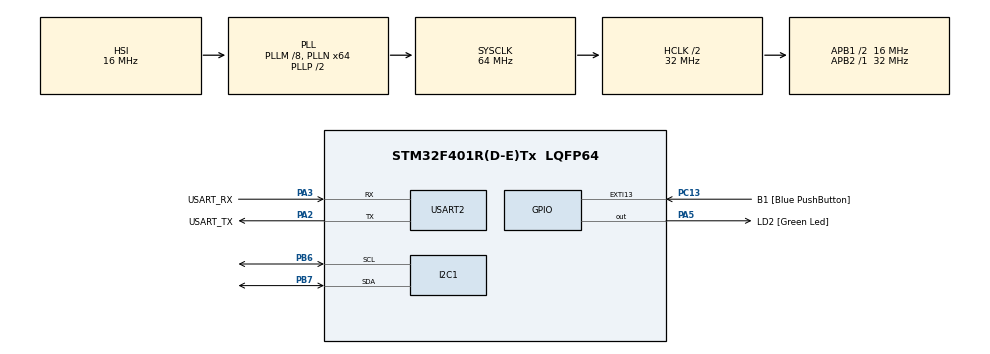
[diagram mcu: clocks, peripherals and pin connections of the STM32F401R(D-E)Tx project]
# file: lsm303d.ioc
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Mcu.Family=STM32F4
Mcu.Name=STM32F401R(D-E)Tx
Mcu.Package=LQFP64
NVIC.PriorityGroup=NVIC_PRIORITYGROUP_0
PA13.GPIO_Label=TMS
PA13.Mode=Serial_Wire
PA13.Signal=SYS_JTMS-SWDIO
PA14.GPIO_Label=TCK
PA14.Mode=Serial_Wire
PA14.Signal=SYS_JTCK-SWCLK
PA2.GPIO_Label=USART_TX
PA2.GPIO_Mode=GPIO_MODE_AF_PP
PA2.GPIO_PuPd=GPIO_NOPULL
PA2.GPIO_Speed=GPIO_SPEED_FREQ_LOW
PA2.Mode=Asynchronous
PA2.Signal=USART2_TX
PA3.GPIO_Label=USART_RX
PA3.GPIO_Mode=GPIO_MODE_AF_PP
PA3.GPIO_PuPd=GPIO_NOPULL
PA3.GPIO_Speed=GPIO_SPEED_FREQ_LOW
PA3.Mode=Asynchronous
PA3.Signal=USART2_RX
PA5.GPIO_Label=LD2 [Green Led]
PA5.GPIO_Mode=GPIO_MODE_OUTPUT_PP
PA5.GPIO_PuPd=GPIO_NOPULL
PA5.GPIO_Speed=GPIO_SPEED_FREQ_LOW
PA5.Signal=GPIO_Output
PB3.GPIO_Label=SWO
PB3.Signal=SYS_JTDO-SWO
PB6.Mode=I2C
PB6.Signal=I2C1_SCL
PB7.Mode=I2C
PB7.Signal=I2C1_SDA
PC13-ANTI_TAMP.GPIO_Label=B1 [Blue PushButton]
PC13-ANTI_TAMP.GPIO_ModeDefaultEXTI=GPIO_MODE_IT_FALLING
PC13-ANTI_TAMP.GPIO_PuPd=GPIO_NOPULL
PC13-ANTI_TAMP.Signal=GPXTI13
PC14-OSC32_IN.Mode=LSE-External-Oscillator
PC14-OSC32_IN.Signal=RCC_OSC32_IN
PC15-OSC32_OUT.Mode=LSE-External-Oscillator
PC15-OSC32_OUT.Signal=RCC_OSC32_OUT
PH0\ -\ OSC_IN.Mode=HSE-External-Clock-Source
PH0\ -\ OSC_IN.Signal=RCC_OSC_IN
PH1\ -\ OSC_OUT.Mode=HSE-External-Clock-Source
PH1\ -\ OSC_OUT.Signal=RCC_OSC_OUT
ProjectManager.HeapSize=0x200
ProjectManager.StackSize=0x400
ProjectManager.TargetToolchain=SW4STM32
RCC.48MHZClocksFreq_Value=18285714.285714287
RCC.AHBCLKDivider=RCC_SYSCLK_DIV2
RCC.AHBFreq_Value=32000000
RCC.APB1CLKDivider=RCC_HCLK_DIV2
RCC.APB1Freq_Value=16000000
RCC.APB1TimFreq_Value=32000000
RCC.APB2Freq_Value=32000000
RCC.APB2TimFreq_Value=32000000
RCC.CortexFreq_Value=32000000
RCC.HCLKFreq_Value=32000000
RCC.HSE_VALUE=8000000
RCC.HSI_VALUE=16000000
RCC.PLLM=8
RCC.PLLN=64
RCC.PLLQ=7
RCC.SYSCLKFreq_VALUE=64000000
RCC.SYSCLKSource=RCC_SYSCLKSOURCE_PLLCLK
RCC.VCOOutputFreq_Value=128000000
USART2.VirtualMode=VM_ASYNC
board=NUCLEO-F401RE

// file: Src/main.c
/**
  ******************************************************************************
  * @file           : main.c
  * @brief          : Main program body
  ******************************************************************************
  ** This notice applies to any and all portions of this file
  * that are not between comment pairs USER CODE BEGIN and
  * USER CODE END. Other portions of this file, whether
  * inserted by the user or by software development tools
  * are owned by their respective copyright owners.
  *
  * COPYRIGHT(c) 2018 STMicroelectronics
  *
  * Redistribution and use in source and binary forms, with or without modification,
  * are permitted provided that the following conditions are met:
  *   1. Redistributions of source code must retain the above copyright notice,
  *      this list of conditions and the following disclaimer.
  *   2. Redistributions in binary form must reproduce the above copyright notice,
  *      this list of conditions and the following disclaimer in the documentation
  *      and/or other materials provided with the distribution.
  *   3. Neither the name of STMicroelectronics nor the names of its contributors
  *      may be used to endorse or promote products derived from this software
  *      without specific prior written permission.
  *
  * THIS SOFTWARE IS PROVIDED BY THE COPYRIGHT HOLDERS AND CONTRIBUTORS "AS IS"
  * AND ANY EXPRESS OR IMPLIED WARRANTIES, INCLUDING, BUT NOT LIMITED TO, THE
  * IMPLIED WARRANTIES OF MERCHANTABILITY AND FITNESS FOR A PARTICULAR PURPOSE ARE
  * DISCLAIMED. IN NO EVENT SHALL THE COPYRIGHT HOLDER OR CONTRIBUTORS BE LIABLE
  * FOR ANY DIRECT, INDIRECT, INCIDENTAL, SPECIAL, EXEMPLARY, OR CONSEQUENTIAL
  * DAMAGES (INCLUDING, BUT NOT LIMITED TO, PROCUREMENT OF SUBSTITUTE GOODS OR
  * SERVICES; LOSS OF USE, DATA, OR PROFITS; OR BUSINESS INTERRUPTION) HOWEVER
  * CAUSED AND ON ANY THEORY OF LIABILITY, WHETHER IN CONTRACT, STRICT LIABILITY,
  * OR TORT (INCLUDING NEGLIGENCE OR OTHERWISE) ARISING IN ANY WAY OUT OF THE USE
  * OF THIS SOFTWARE, EVEN IF ADVISED OF THE POSSIBILITY OF SUCH DAMAGE.
  *
  ******************************************************************************
  */
#include "main.h"
#include "stm32f4xx_hal.h"

/* USER CODE BEGIN Includes */

// datasheet lsm303d
// https://www.pololu.com/file/0J703/LSM303D.pdf

/* USER CODE END Includes */

I2C_HandleTypeDef hi2c1;

UART_HandleTypeDef huart2;

/* USER CODE BEGIN PV */
/* Private variables ---------------------------------------------------------*/
#define lsmReadAddr 0x3B
#define lsmWriteAddr 0x3A
#define WHO_AM_I 0x0F
#define OUT_TEMP 0x05
#define OUT_X_L_A 0x28
#define OUT_X_H_A 0x29
#define OUT_Y_L_A 0x2A
#define OUT_Y_H_A 0x2B
#define OUT_Z_L_A 0x2C
#define OUT_Z_H_A 0x2D

#define CTRL_REG1_A 0x20
#define CTRL_REG2_A 0x21
#define CTRL_REG3_A 0x22
#define CTRL_REG4_A 0x23
#define CTRL_REG5_A 0x24
#define CTRL_REG6_A 0x25
#define CRA_REG_M 0x00
#define CRB_REG_M 0x01
#define MR_REG_M 0x02

/* USER CODE END PV */

void SystemClock_Config(void);
static void MX_GPIO_Init(void);
static void MX_USART2_UART_Init(void);
static void MX_I2C1_Init(void);

/* USER CODE BEGIN PFP */
/* Private function prototypes -----------------------------------------------*/

/////////////////  uart  ////////////////////

void uart_text(char* StringPtr){

	while(*StringPtr != 0){
		HAL_UART_Transmit(&huart2,StringPtr,1,1000);
		StringPtr++;
	}
}
void uart_nr_flt(float nr){
	nr*=100;
	int16_t n=nr;
	uint16_t r=n%100;
	n /= 100;
	if(n>0)uart_nr_int(n);
	if(n==0)HAL_UART_Transmit(&huart2,"0",1,1000);
	HAL_UART_Transmit(&huart2,".",1,1000);
	uart_nr_int(r);
}
void uart_nr_int(int16_t nr){
	char str[26];
	uint16_t n;
	uint8_t i=0,d=1;
	n=nr;

	if(nr<0){
		n*=(-1);
		while(n > 0){
			i++;
			n = n/10;
		}
		i++;
	}else{
		while(n > 0){
			i++;
			n = n/10;
		}
	}
	itoa(nr, str,10);
	HAL_UART_Transmit(&huart2,str,i,1000);
}
void uart_ln(void){
	HAL_UART_Transmit(&huart2,"\n",1,1000);
}

///////////////////////////  koniec   ///////////////////////////

///////////////////////////  lsm303d  ///////////////////////////

void lsm_write_1(uint8_t reg,uint8_t val){
	HAL_I2C_Mem_Write(&hi2c3,lsmWriteAddr,reg,1,&val,1,1000);
}
uint8_t lsm_read_1(uint8_t reg){
	uint8_t a;
	HAL_I2C_Mem_Read(&hi2c3,lsmReadAddr,reg,1,&a,1,1000);
	return a;
}
uint16_t lsm_read_2(uint8_t reg){
	uint8_t a1,a2;
	a1 = lsm_read_1(reg);
	reg++;
	a2 = lsm_read_1(reg);
	uint16_t a=(a2<<8)|a1;
	return a;
}
int16_t lsm_read_value(uint8_t reg){
	int16_t val=0;
	val = lsm_read_2(reg);
	return val;
}
int lsm_getAcc_x(void){
	int16_t xa=lsm_read_value(OUT_X_L_A);
	float xf = xa * 2.0f / 32678.0f;
	int x = xf*100;
	return x;
}
int lsm_getAcc_y(void){
	int16_t ya=lsm_read_value(OUT_Y_L_A);
	float yf = ya * 2.0f / 32678.0f;
	int y = yf*100;
	return y;
}
int lsm_getAcc_z(void){
	int16_t za=lsm_read_value(OUT_Z_L_A);
	float zf = za * 2.0f / 32678.0f;
	int z = zf*100;
	return z;
}
uint8_t lsm_init(void){
	lsm_write_1(CTRL_REG5_A,0b10011000);  // wl odczyt temp
	lsm_write_1(CTRL_REG1_A,0x40|0x07);  //wl akcelerometr ustaw f=25hz
	uint8_t ver,ok=0;
	ver=lsm_read_1(WHO_AM_I);
	if(ver==73)ok=1;
	return ok;
}

  ///////////////////////////  koniec  //////////////////////////

/* USER CODE END PFP */

int main(void)
{

  /* MCU Configuration----------------------------------------------------------*/

  /* Reset of all peripherals, Initializes the Flash interface and the Systick. */
  HAL_Init();

  /* Configure the system clock */
  SystemClock_Config();

  /* Initialize all configured peripherals */
  MX_GPIO_Init();
  MX_USART2_UART_Init();
  MX_I2C1_Init();
  /* USER CODE BEGIN 2 */

	if(lsm_init()==1){
		uart_text("LSM303D VER = OK");
		uart_ln();
	}else{
		uart_text("LSM303D VER = FAIL");
		uart_ln();
	}

  /* USER CODE END 2 */

  /* Infinite loop */
  /* USER CODE BEGIN WHILE */
	while (1)
	{
		uint8_t ver;
		ver=lsm_read_1(0x0F);
		int x = lsm_getAcc_x();
		int y = lsm_getAcc_y();
		int z = lsm_getAcc_z();
		uart_text("X_A = ");
		uart_nr_int(x);
		uart_text("    Y_A = ");
		uart_nr_int(y);
		uart_text("    Z_A = ");
		uart_nr_int(z);
		uart_text("    VER = ");
		uart_nr_int(ver);
		uart_ln();
		HAL_Delay(100);
  /* USER CODE END WHILE */

	}

}

void SystemClock_Config(void)
{

  RCC_OscInitTypeDef RCC_OscInitStruct;
  RCC_ClkInitTypeDef RCC_ClkInitStruct;

    /**Configure the main internal regulator output voltage
    */
  __HAL_RCC_PWR_CLK_ENABLE();

  __HAL_PWR_VOLTAGESCALING_CONFIG(PWR_REGULATOR_VOLTAGE_SCALE2);

    /**Initializes the CPU, AHB and APB busses clocks
    */
  RCC_OscInitStruct.OscillatorType = RCC_OSCILLATORTYPE_HSI;
  RCC_OscInitStruct.HSIState = RCC_HSI_ON;
  RCC_OscInitStruct.HSICalibrationValue = 16;
  RCC_OscInitStruct.PLL.PLLState = RCC_PLL_ON;
  RCC_OscInitStruct.PLL.PLLSource = RCC_PLLSOURCE_HSI;
  RCC_OscInitStruct.PLL.PLLM = 8;
  RCC_OscInitStruct.PLL.PLLN = 64;
  RCC_OscInitStruct.PLL.PLLP = RCC_PLLP_DIV2;
  RCC_OscInitStruct.PLL.PLLQ = 7;
  if (HAL_RCC_OscConfig(&RCC_OscInitStruct) != HAL_OK)
  {
    _Error_Handler(__FILE__, __LINE__);
  }

    /**Initializes the CPU, AHB and APB busses clocks
    */
  RCC_ClkInitStruct.ClockType = RCC_CLOCKTYPE_HCLK|RCC_CLOCKTYPE_SYSCLK
                              |RCC_CLOCKTYPE_PCLK1|RCC_CLOCKTYPE_PCLK2;
  RCC_ClkInitStruct.SYSCLKSource = RCC_SYSCLKSOURCE_PLLCLK;
  RCC_ClkInitStruct.AHBCLKDivider = RCC_SYSCLK_DIV2;
  RCC_ClkInitStruct.APB1CLKDivider = RCC_HCLK_DIV2;
  RCC_ClkInitStruct.APB2CLKDivider = RCC_HCLK_DIV1;

  if (HAL_RCC_ClockConfig(&RCC_ClkInitStruct, FLASH_LATENCY_1) != HAL_OK)
  {
    _Error_Handler(__FILE__, __LINE__);
  }

    /**Configure the Systick interrupt time
    */
  HAL_SYSTICK_Config(HAL_RCC_GetHCLKFreq()/1000);

    /**Configure the Systick
    */
  HAL_SYSTICK_CLKSourceConfig(SYSTICK_CLKSOURCE_HCLK);

  /* SysTick_IRQn interrupt configuration */
  HAL_NVIC_SetPriority(SysTick_IRQn, 0, 0);
}

/* I2C1 init function */
static void MX_I2C1_Init(void)
{

  hi2c1.Instance = I2C1;
  hi2c1.Init.ClockSpeed = 100000;
  hi2c1.Init.DutyCycle = I2C_DUTYCYCLE_2;
  hi2c1.Init.OwnAddress1 = 0;
  hi2c1.Init.AddressingMode = I2C_ADDRESSINGMODE_7BIT;
  hi2c1.Init.DualAddressMode = I2C_DUALADDRESS_DISABLE;
  hi2c1.Init.OwnAddress2 = 0;
  hi2c1.Init.GeneralCallMode = I2C_GENERALCALL_DISABLE;
  hi2c1.Init.NoStretchMode = I2C_NOSTRETCH_DISABLE;
  if (HAL_I2C_Init(&hi2c1) != HAL_OK)
  {
    _Error_Handler(__FILE__, __LINE__);
  }

}

/* USART2 init function */
static void MX_USART2_UART_Init(void)
{

  huart2.Instance = USART2;
  huart2.Init.BaudRate = 115200;
  huart2.Init.WordLength = UART_WORDLENGTH_8B;
  huart2.Init.StopBits = UART_STOPBITS_1;
  huart2.Init.Parity = UART_PARITY_NONE;
  huart2.Init.Mode = UART_MODE_TX_RX;
  huart2.Init.HwFlowCtl = UART_HWCONTROL_NONE;
  huart2.Init.OverSampling = UART_OVERSAMPLING_16;
  if (HAL_UART_Init(&huart2) != HAL_OK)
  {
    _Error_Handler(__FILE__, __LINE__);
  }

}

/** Configure pins as
        * Analog
        * Input
        * Output
        * EVENT_OUT
        * EXTI
*/
static void MX_GPIO_Init(void)
{

  GPIO_InitTypeDef GPIO_InitStruct;

  /* GPIO Ports Clock Enable */
  __HAL_RCC_GPIOC_CLK_ENABLE();
  __HAL_RCC_GPIOH_CLK_ENABLE();
  __HAL_RCC_GPIOA_CLK_ENABLE();
  __HAL_RCC_GPIOB_CLK_ENABLE();

  /*Configure GPIO pin Output Level */
  HAL_GPIO_WritePin(LD2_GPIO_Port, LD2_Pin, GPIO_PIN_RESET);

  /*Configure GPIO pin : B1_Pin */
  GPIO_InitStruct.Pin = B1_Pin;
  GPIO_InitStruct.Mode = GPIO_MODE_IT_FALLING;
  GPIO_InitStruct.Pull = GPIO_NOPULL;
  HAL_GPIO_Init(B1_GPIO_Port, &GPIO_InitStruct);

  /*Configure GPIO pin : LD2_Pin */
  GPIO_InitStruct.Pin = LD2_Pin;
  GPIO_InitStruct.Mode = GPIO_MODE_OUTPUT_PP;
  GPIO_InitStruct.Pull = GPIO_NOPULL;
  GPIO_InitStruct.Speed = GPIO_SPEED_FREQ_LOW;
  HAL_GPIO_Init(LD2_GPIO_Port, &GPIO_InitStruct);

}

void _Error_Handler(char *file, int line)
{
	while(1)
	{
	}
}

/************************ (C) COPYRIGHT STMicroelectronics *****END OF FILE****/
